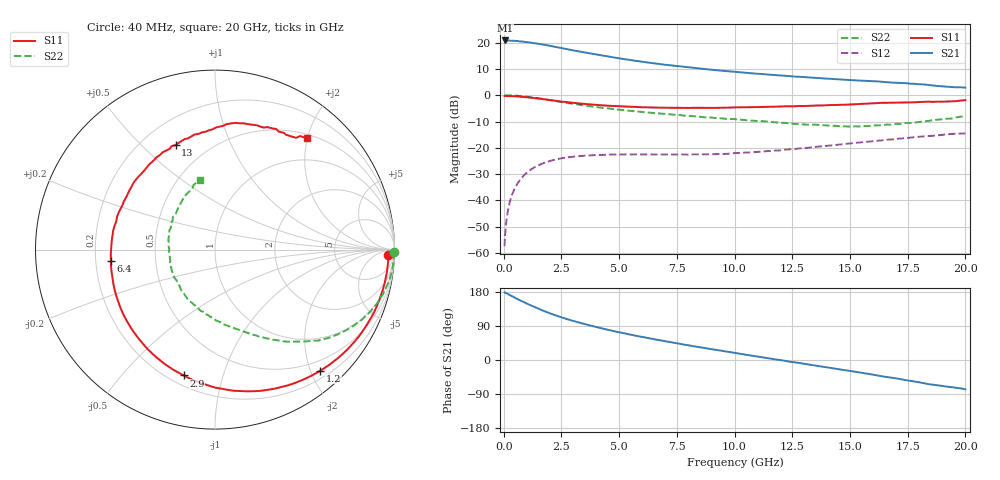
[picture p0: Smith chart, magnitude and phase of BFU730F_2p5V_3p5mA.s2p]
! Filename:  P:\Prog\Test\Noise\ATS_data\Testdata_Net\Split files Spar\BFU730_2W_B1_Bias3_2.5V_1mA_25mA_D.s2p
! Date/Time: Fri 29/Apr/2011 15:07:39
! BFU730_2W_B1_Bias3_2.5V_1mA_25mA_R.s2p
! MDIF S-parameter v. bias file
! BFU730_2W_B1_2.5V_1mA_25mA
! Date/time Thu Mar 17 13:38:09 2011
! VAR V_out= 2.5000
! VAR I_out= 3.4250
! VAR V_in= 0.7770
! VAR I_in= 0.0092
! Device data file deembeded for feedlines and parallel
! Original file: \Split files Spar\BFU730_2W_B1_Bias3_2.5V_1mA_25mA_R.s2p
! Feed-files: PR003V01_101208_Feed1.s2p, PR003V01_101208_Feed2.s2p
! Parallel-file: PR003V01_101208_Par.s2p
# MHz S MA R 50
!  Freq-MHz  S11-mag  S11-arg  S21-mag  S21-arg  S12-mag  S12-arg  S22-mag  S22-arg
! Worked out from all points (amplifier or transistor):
!   167 points, 40 MHz to 20 GHz, reference 50 ohm
!   highest |S21| = 20.8 dB at 50 MHz (marker M1)
!   |S21| within 3 dB of that: start of sweep to 2.559 GHz
!   unconditionally stable (mu >= 1): 7.737 GHz to 15.97 GHz
!   at 550 MHz: K = 0.05, MSG = 27.4 dB, |S12| = -34.3 dB
!   at 4.2 GHz: K = 0.50, MSG = 18.9 dB, |S12| = -22.7 dB
!   at 20 GHz: K = 0.76, MSG = 8.7 dB, |S12| = -14.5 dB
!   S11 on the Smith chart (normalised r, x): 40 MHz: 33, -29; 1.2 GHz: 0.32, -2.16; 2.9 GHz: 0.26, -0.75; 6.4 GHz: 0.26, -0.05; 13 GHz: 0.34, +0.64; 20 GHz: 0.57, +1.99
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40  0.9667 -1.7  10.92 178.8  0.001357 79.5  0.9973 -0.8
50  0.9651 -2.6  10.95 178.0  0.002161 87.0  0.997 -1.0
60  0.9639 -2.3  10.81 177.7  0.002212 80.3  0.9978 -1.2
240  0.9637 -10.1  10.93 172.2  0.008477 83.9  0.9953 -5.2
600  0.9458 -25.2  10.71 160.8  0.02111 75.5  0.9755 -12.9
850  0.927 -35.3  10.39 153.3  0.0293 69.3  0.954 -18.0
1200  0.8942 -49.0  9.938 143.4  0.03936 61.3  0.9126 -24.5
1600  0.8522 -63.6  9.331 132.9  0.04888 53.0  0.8611 -31.2
1900  0.8204 -74.1  8.855 125.5  0.05453 47.5  0.8203 -35.8
2300  0.7781 -86.8  8.169 116.6  0.06081 41.0  0.7684 -41.2
2900  0.7227 -103.9  7.239 105.1  0.06703 32.5  0.6944 -47.5
3400  0.6877 -116.5  6.606 96.5  0.07034 27.1  0.6479 -52.3
4000  0.6539 -130.4  5.923 87.1  0.07301 21.8  0.5966 -57.2
4800  0.6216 -146.7  5.175 75.8  0.07487 16.0  0.542 -63.3
6400  0.5841 -173.8  4.087 56.2  0.07487 8.6  0.4622 -74.2
6800  0.5792 -179.8  3.883 51.8  0.07471 7.6  0.447 -77.0
8200  0.5756 161.3  3.311 36.6  0.07527 6.1  0.3994 -87.8
10200  0.5885 138.4  2.733 16.7  0.08023 6.8  0.3424 -105.4
13000  0.6221 110.6  2.206 -9.9  0.0985 5.5  0.2782 -138.2
13400  0.6319 107.4  2.146 -13.7  0.1036 4.6  0.2753 -144.7
16800  0.7211 77.3  1.736 -46.6  0.1444 -8.1  0.274 153.6
20000  0.8029 50.6  1.396 -77.4  0.1883 -28.7  0.3983 102.3
